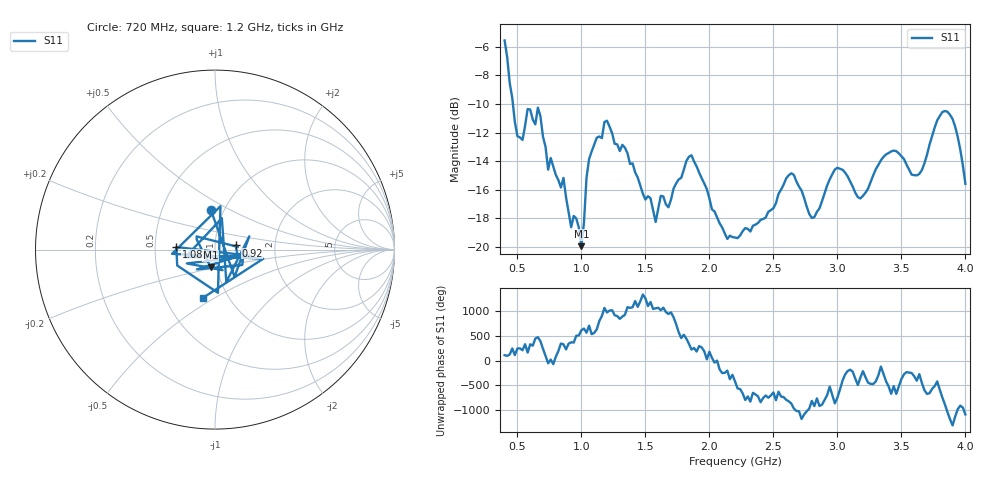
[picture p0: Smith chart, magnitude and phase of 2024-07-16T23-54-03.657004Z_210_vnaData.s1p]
!Created with skrf (http://scikit-rf.org).
# Hz S RI R 50.0
!freq ReS11 ImS11
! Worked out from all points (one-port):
!   181 points, 400 MHz to 4 GHz, reference 50 ohm
!   lowest |S11| = -19.9 dB at 1 GHz (marker M1), VSWR 1.22, Z = 46.8 - j9.27 ohm
!   |S11| at or under -10 dB: 465 MHz to end of sweep
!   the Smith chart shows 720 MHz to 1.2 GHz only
!   S11 on the Smith chart (normalised r, x): 720 MHz: 0.87, +0.41; 920 MHz: 1.26, +0.06; 1.08 GHz: 0.65, +0.02; 1.2 GHz: 0.76, -0.44
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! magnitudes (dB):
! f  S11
! 400 MHz  -5.6
! 500 MHz  -12.2
! 660 MHz  -10.3
! 720 MHz  -13.0
! 740 MHz  -14.6
! 860 MHz  -15.2
! 920 MHz  -18.6
! 960 MHz  -18.0
! 1 GHz  -19.9
! 1.04 GHz  -15.1
! 1.08 GHz  -13.3
! 1.2 GHz  -11.2
! 1.3 GHz  -13.3
! 1.58 GHz  -18.2
! 1.76 GHz  -15.3
! 1.86 GHz  -13.6
! 2.2 GHz  -19.3
! 2.66 GHz  -15.0
! 2.8 GHz  -18.0
! 2.98 GHz  -14.6
! 3.1 GHz  -15.4
! 3.18 GHz  -16.6
! 3.44 GHz  -13.3
! 3.56 GHz  -14.6
! 3.66 GHz  -14.6
! 3.84 GHz  -10.5
! 3.92 GHz  -11.6
! 4 GHz  -15.6
